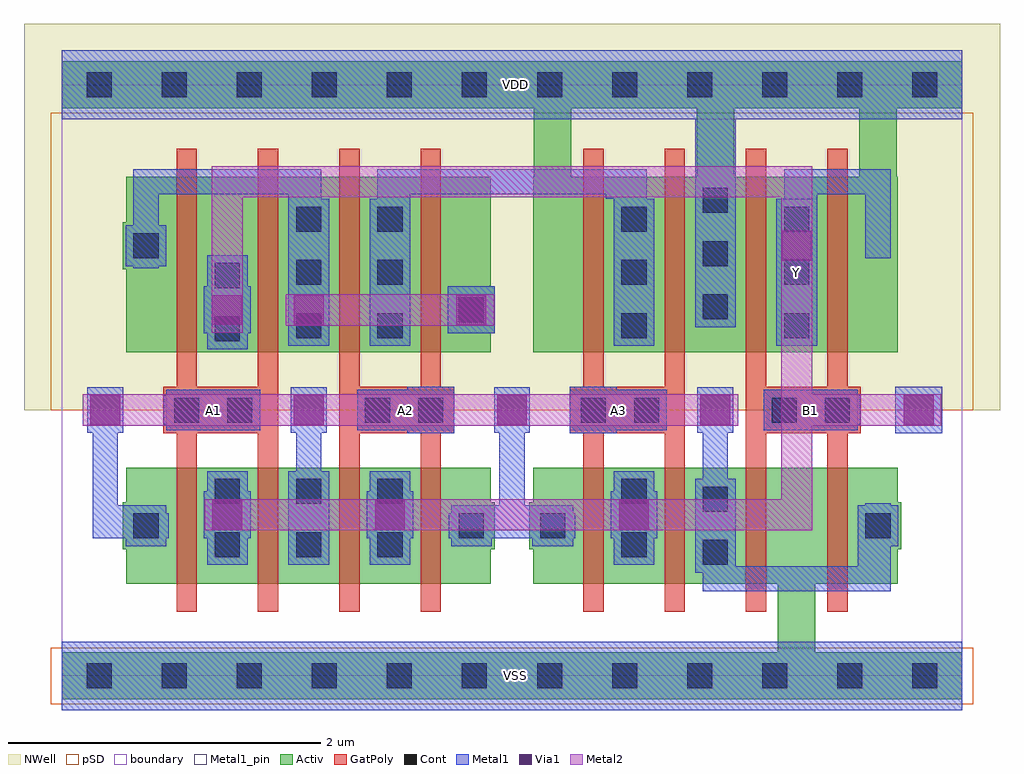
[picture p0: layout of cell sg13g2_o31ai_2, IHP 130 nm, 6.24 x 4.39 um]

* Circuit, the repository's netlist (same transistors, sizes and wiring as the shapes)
.SUBCKT sg13g2_o31ai_2 Y A1 A2 A3 B1 VDD VSS
*.PININFO A1:I A2:I A3:I B1:I Y:O VDD:B VSS:B
MN0 Y A1 net1 VSS sg13_lv_nmos w=1.48u l=130.00n ng=2
MN1 Y A2 net1 VSS sg13_lv_nmos w=1.48u l=130.00n ng=2
MN2 Y A3 net1 VSS sg13_lv_nmos w=1.48u l=130.00n ng=2
MN3 net1 B1 VSS VSS sg13_lv_nmos w=1.48u l=130.00n ng=2
MP0 Y A1 net2 VDD sg13_lv_pmos w=2.24u l=130.00n ng=2
MP1 net2 A2 net3 VDD sg13_lv_pmos w=2.24u l=130.00n ng=2
MP2 net3 A3 VDD VDD sg13_lv_pmos w=2.24u l=130.00n ng=2
MP3 Y B1 VDD VDD sg13_lv_pmos w=2.24u l=130.00n ng=2
.ENDS

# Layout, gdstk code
import gdstk
lib = gdstk.Library(unit=1e-6, precision=1e-09)
def R(c, l, rs):  # rectangles x0, y0, x1, y1
    for r in rs: c.add(gdstk.rectangle(r[:2], r[2:], *l))
def A(c, l, x, y, w, h, nx, ny, dx, dy):  # array of equal rectangles
    R(c, l, [(x+i*dx, y+j*dy, x+i*dx+w, y+j*dy+h) for i in range(nx) for j in range(ny)])
def P(c, l, *ps):  # polygons
    for p in ps: c.add(gdstk.Polygon(p, *l))
Activ = (1, 0)
GatPoly = (5, 0)
Cont = (6, 0)
Metal1 = (8, 0)
Metal1_pin = (8, 2)
Metal2 = (10, 0)
pSD = (14, 0)
Via1 = (19, 0)
NWell = (31, 0)
boundary = (189, 4)

sg13g2_o31ai_2 = lib.new_cell('sg13g2_o31ai_2')
P(sg13g2_o31ai_2, Activ, [(0,-0.15),(5.76,-0.15),(5.76,0.15),(4.82,0.15),(4.82,0.59),(5.345,0.59),(5.345,0.81),(5.37,0.81),(5.37,1.11),(5.345,1.11),(5.345,1.33),(3.015,1.33),(3.015,1.11),(2.99,1.11),(2.99,0.81),(3.015,0.81),(3.015,0.59),(4.58,0.59),(4.58,0.15),(0,0.15)],
  [(3.02,3.19),(3.26,3.19),(3.26,3.63),(4.06,3.63),(4.06,3.19),(4.3,3.19),(4.3,3.63),(5.1,3.63),(5.1,3.19),(5.34,3.19),(5.34,3.63),(5.76,3.63),(5.76,3.93),(0,3.93),(0,3.63),(3.02,3.63),(3.02,3.19),(3.015,3.19),(3.015,2.07),(5.345,2.07),(5.345,3.19)],
  [(0.39,0.81),(0.415,0.81),(0.415,0.59),(2.745,0.59),(2.745,0.81),(2.77,0.81),(2.77,1.11),(2.745,1.11),(2.745,1.33),(0.415,1.33),(0.415,1.11),(0.39,1.11)],
  [(0.39,2.6),(0.415,2.6),(0.415,2.07),(2.745,2.07),(2.745,2.19),(2.77,2.19),(2.77,2.49),(2.745,2.49),(2.745,3.19),(0.415,3.19),(0.415,2.9),(0.39,2.9)])
P(sg13g2_o31ai_2, GatPoly, [(0.65,1.55),(0.735,1.55),(0.735,0.41),(0.865,0.41),(0.865,1.55),(1.255,1.55),(1.255,0.41),(1.385,0.41),(1.385,3.37),(1.255,3.37),(1.255,1.85),(0.865,1.85),(0.865,3.37),(0.735,3.37),(0.735,1.85),(0.65,1.85)],
  [(1.775,0.41),(1.905,0.41),(1.905,1.55),(2.295,1.55),(2.295,0.41),(2.425,0.41),(2.425,1.55),(2.51,1.55),(2.51,1.85),(2.425,1.85),(2.425,3.37),(2.295,3.37),(2.295,1.85),(1.905,1.85),(1.905,3.37),(1.775,3.37)],
  [(3.25,1.55),(3.335,1.55),(3.335,0.41),(3.465,0.41),(3.465,1.55),(3.855,1.55),(3.855,0.41),(3.985,0.41),(3.985,3.37),(3.855,3.37),(3.855,1.85),(3.465,1.85),(3.465,3.37),(3.335,3.37),(3.335,1.85),(3.25,1.85)],
  [(4.375,0.41),(4.505,0.41),(4.505,1.55),(4.895,1.55),(4.895,0.41),(5.025,0.41),(5.025,1.55),(5.11,1.55),(5.11,1.85),(5.025,1.85),(5.025,3.37),(4.895,3.37),(4.895,1.85),(4.505,1.85),(4.505,3.37),(4.375,3.37)])
A(sg13g2_o31ai_2, Cont, 0.16, -0.08, 0.16, 0.16, 12, 2, 0.48, 3.78)
A(sg13g2_o31ai_2, Cont, 0.98, 0.76, 0.16, 0.16, 3, 2, 0.52, 0.34)
A(sg13g2_o31ai_2, Cont, 1.5, 2.16, 0.16, 0.16, 1, 3, 0, 0.34)
A(sg13g2_o31ai_2, Cont, 2.02, 2.16, 0.16, 0.16, 1, 3, 0, 0.34)
A(sg13g2_o31ai_2, Cont, 3.58, 2.16, 0.16, 0.16, 1, 3, 0, 0.34)
A(sg13g2_o31ai_2, Cont, 4.62, 2.16, 0.16, 0.16, 1, 3, 0, 0.34)
A(sg13g2_o31ai_2, Cont, 4.1, 2.28, 0.16, 0.16, 1, 3, 0, 0.34)
R(sg13g2_o31ai_2, Cont, [(4.1,0.71,4.26,0.87), (3.58,0.76,3.74,0.92), (0.46,0.88,0.62,1.04), (2.54,0.88,2.7,1.04), (3.06,0.88,3.22,1.04), (5.14,0.88,5.3,1.04), (4.1,1.05,4.26,1.21), (3.58,1.1,3.74,1.26), (0.72,1.62,0.88,1.78), (1.06,1.62,1.22,1.78), (1.94,1.62,2.1,1.78), (2.28,1.62,2.44,1.78), (3.32,1.62,3.48,1.78), (3.66,1.62,3.82,1.78), (4.54,1.62,4.7,1.78), (4.88,1.62,5.04,1.78), (0.98,2.14,1.14,2.3), (2.54,2.26,2.7,2.42), (0.98,2.48,1.14,2.64), (0.46,2.67,0.62,2.83)])
R(sg13g2_o31ai_2, Metal1, [(0,-0.22,5.76,0.22), (5.33,1.55,5.63,1.85), (2.47,2.19,2.77,2.49)])
P(sg13g2_o31ai_2, Metal1, [(0,3.56),(4.05,3.56),(4.05,2.23),(4.31,2.23),(4.31,3.56),(5.76,3.56),(5.76,4),(0,4)],
  [(0.165,1.555),(0.2,1.555),(0.2,0.88),(0.41,0.88),(0.41,0.83),(0.67,0.83),(0.67,0.88),(0.685,0.88),(0.685,1.04),(0.67,1.04),(0.67,1.09),(0.36,1.09),(0.36,1.555),(0.395,1.555),(0.395,1.845),(0.165,1.845)],
  [(0.41,2.62),(0.46,2.62),(0.46,2.605),(0.62,2.605),(0.62,2.62),(0.67,2.62),(0.67,2.88),(0.62,2.88),(0.62,3.08),(1.45,3.08),(1.45,2.11),(1.71,2.11),(1.71,3.05),(1.66,3.05),(1.66,3.24),(0.46,3.24),(0.46,2.88),(0.41,2.88)],
  [(0.655,1.605),(0.67,1.605),(0.67,1.57),(1.27,1.57),(1.27,1.83),(0.67,1.83),(0.67,1.795),(0.655,1.795)],
  [(0.91,0.88),(0.93,0.88),(0.93,0.71),(1.19,0.71),(1.19,0.88),(1.21,0.88),(1.21,1.18),(1.19,1.18),(1.19,1.31),(0.93,1.31),(0.93,1.18),(0.91,1.18)],
  [(0.91,2.19),(0.93,2.19),(0.93,2.09),(1.19,2.09),(1.19,2.19),(1.21,2.19),(1.21,2.49),(1.19,2.49),(1.19,2.69),(0.93,2.69),(0.93,2.49),(0.91,2.49)],
  [(1.45,0.71),(1.71,0.71),(1.71,1.31),(1.66,1.31),(1.66,1.555),(1.695,1.555),(1.695,1.845),(1.465,1.845),(1.465,1.555),(1.5,1.555),(1.5,1.31),(1.45,1.31)],
  [(1.89,1.57),(2.21,1.57),(2.21,1.55),(2.51,1.55),(2.51,1.85),(2.21,1.85),(2.21,1.83),(1.89,1.83)],
  [(1.95,0.88),(1.97,0.88),(1.97,0.71),(2.23,0.71),(2.23,0.88),(2.25,0.88),(2.25,1.18),(2.23,1.18),(2.23,1.31),(1.97,1.31),(1.97,1.18),(1.95,1.18)],
  [(1.97,2.11),(2.23,2.11),(2.23,3.08),(3.48,3.08),(3.48,3.05),(3.53,3.05),(3.53,2.11),(3.79,2.11),(3.79,3.05),(3.74,3.05),(3.74,3.24),(2.02,3.24),(2.02,3.05),(1.97,3.05)],
  [(2.475,0.88),(2.49,0.88),(2.49,0.83),(2.75,0.83),(2.75,0.88),(3.01,0.88),(3.01,0.83),(3.27,0.83),(3.27,0.88),(3.285,0.88),(3.285,1.04),(3.27,1.04),(3.27,1.09),(2.96,1.09),(2.96,1.555),(2.995,1.555),(2.995,1.845),(2.765,1.845),(2.765,1.555),(2.8,1.555),(2.8,1.09),(2.49,1.09),(2.49,1.04),(2.475,1.04)],
  [(3.25,1.55),(3.55,1.55),(3.55,1.57),(3.87,1.57),(3.87,1.83),(3.55,1.83),(3.55,1.85),(3.25,1.85)],
  [(3.51,0.88),(3.53,0.88),(3.53,0.71),(3.79,0.71),(3.79,0.88),(3.81,0.88),(3.81,1.18),(3.79,1.18),(3.79,1.31),(3.53,1.31),(3.53,1.18),(3.51,1.18)],
  [(4.05,0.66),(4.1,0.66),(4.1,0.54),(5.3,0.54),(5.3,0.83),(5.35,0.83),(5.35,1.09),(5.3,1.09),(5.3,1.105),(5.14,1.105),(5.14,1.09),(5.09,1.09),(5.09,0.7),(4.31,0.7),(4.31,1.26),(4.26,1.26),(4.26,1.555),(4.295,1.555),(4.295,1.845),(4.065,1.845),(4.065,1.555),(4.1,1.555),(4.1,1.26),(4.05,1.26)],
  [(4.49,1.57),(5.09,1.57),(5.09,1.605),(5.105,1.605),(5.105,1.795),(5.09,1.795),(5.09,1.83),(4.49,1.83)],
  [(4.57,2.11),(4.83,2.11),(4.83,3.08),(5.14,3.08),(5.14,2.67),(5.3,2.67),(5.3,3.24),(4.62,3.24),(4.62,3.05),(4.57,3.05)])
R(sg13g2_o31ai_2, Metal1_pin, [(0,-0.22,5.76,0.22), (0.67,1.57,1.27,1.83), (1.89,1.57,2.51,1.83), (3.25,1.57,3.87,1.83), (4.49,1.57,5.09,1.83), (4.57,2.11,4.83,3.05), (0,3.56,5.76,4)])
R(sg13g2_o31ai_2, Metal2, [(0.135,1.6,4.325,1.8), (1.435,2.24,2.765,2.44)])
P(sg13g2_o31ai_2, Metal2, [(0.915,0.93),(4.8,0.93),(4.8,1.6),(5.625,1.6),(5.625,1.8),(4.8,1.8),(4.8,3.26),(0.96,3.26),(0.96,2.195),(1.16,2.195),(1.16,3.06),(4.6,3.06),(4.6,1.13),(0.915,1.13)])
R(sg13g2_o31ai_2, pSD, [(-0.07,-0.18,5.83,0.18), (-0.07,1.7,5.83,3.6)])
A(sg13g2_o31ai_2, Via1, 0.185, 1.605, 0.19, 0.19, 5, 1, 1.3, 0)
R(sg13g2_o31ai_2, Via1, [(0.965,0.935,1.155,1.125), (2.005,0.935,2.195,1.125), (3.565,0.935,3.755,1.125), (0.965,2.245,1.155,2.435), (1.485,2.245,1.675,2.435), (2.525,2.245,2.715,2.435), (4.605,2.655,4.795,2.845)])
R(sg13g2_o31ai_2, NWell, [(-0.24,1.7,6,4.17)])
R(sg13g2_o31ai_2, boundary, [(0,0,5.76,3.78)])
sg13g2_o31ai_2.add(gdstk.Label('A1', (0.97,1.7), layer=8, texttype=25))
sg13g2_o31ai_2.add(gdstk.Label('Y', (4.7,2.58), layer=8, texttype=25))
sg13g2_o31ai_2.add(gdstk.Label('A2', (2.2,1.7), layer=8, texttype=25))
sg13g2_o31ai_2.add(gdstk.Label('A3', (3.56,1.7), layer=8, texttype=25))
sg13g2_o31ai_2.add(gdstk.Label('B1', (4.79,1.7), layer=8, texttype=25))
sg13g2_o31ai_2.add(gdstk.Label('VSS', (2.9,0), layer=8, texttype=25))
sg13g2_o31ai_2.add(gdstk.Label('VDD', (2.9,3.78), layer=8, texttype=25))

lib.write_gds('sg13g2_o31ai_2.gds')
